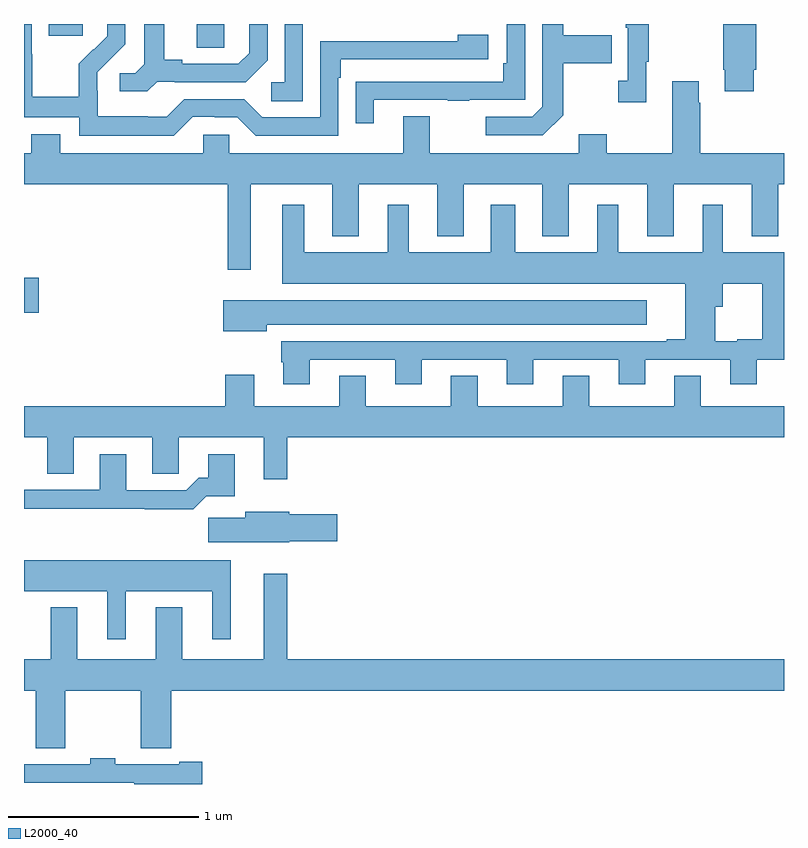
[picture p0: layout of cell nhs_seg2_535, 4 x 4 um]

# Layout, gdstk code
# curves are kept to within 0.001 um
import gdstk
lib = gdstk.Library(unit=1e-6, precision=1e-09)
def R(c, l, rs):  # rectangles x0, y0, x1, y1
    for r in rs: c.add(gdstk.rectangle(r[:2], r[2:], *l))
def P(c, l, *ps):  # polygons
    for p in ps: c.add(gdstk.Polygon(p, *l))
L2000_40 = (2000, 40)

nhs_seg2_535 = lib.new_cell('nhs_seg2_535')
R(nhs_seg2_535, L2000_40, [(137,660.281,137.077,660.464), (137.909,661.675,138.054,661.8), (137.129,661.737,137.308,661.8)])
P(nhs_seg2_535, L2000_40, [(137.889,661.311),(138.005,661.311),(138.005,661.308),(138.123,661.308),(138.219,661.212),(138.654,661.212),(138.654,661.517),(138.667,661.517),(138.667,661.614),(139.444,661.614),(139.444,661.744),(139.283,661.744),(139.283,661.71),(138.558,661.71),(138.558,661.308),(138.255,661.308),(138.159,661.404),(137.844,661.404),(137.751,661.311),(137.651,661.311),(137.651,661.315),(137.388,661.315),(137.388,661.449),(137.386,661.449),(137.386,661.546),(137.532,661.694),(137.532,661.8),(137.438,661.8),(137.438,661.736),(137.367,661.665),(137.364,661.668),(137.287,661.591),(137.287,661.417),(137.043,661.417),(137.043,661.64),(137.04,661.64),(137.04,661.8),(137,661.8),(137,661.308),(137.292,661.308),(137.292,661.211),(137.789,661.211)],
  [(137.7,661.497),(137.794,661.497),(137.794,661.494),(138.166,661.494),(138.282,661.61),(138.282,661.8),(138.185,661.8),(138.185,661.647),(138.128,661.59),(137.833,661.59),(137.833,661.613),(137.737,661.613),(137.737,661.8),(137.633,661.8),(137.633,661.589),(137.586,661.542),(137.505,661.542),(137.505,661.445),(137.648,661.445)],
  [(140.275,661.601),(140.287,661.601),(140.287,661.8),(140.166,661.8),(140.166,661.781),(140.178,661.781),(140.178,661.502),(140.127,661.502),(140.127,661.389),(140.275,661.389)],
  [(139.837,661.321),(139.837,661.594),(140.093,661.594),(140.093,661.741),(139.837,661.741),(139.837,661.8),(139.728,661.8),(139.728,661.365),(139.674,661.311),(139.431,661.311),(139.431,661.215),(139.731,661.215)],
  [(138.468,661.8),(138.372,661.8),(138.372,661.494),(138.3,661.494),(138.3,661.393),(138.468,661.393)],
  [(138.841,661.401),(139.231,661.401),(139.231,661.396),(139.343,661.396),(139.343,661.401),(139.638,661.401),(139.638,661.8),(139.542,661.8),(139.542,661.594),(139.522,661.594),(139.522,661.497),(138.847,661.497),(138.847,661.496),(138.745,661.496),(138.745,661.278),(138.841,661.278)],
  [(140.842,661.558),(140.855,661.558),(140.855,661.8),(140.68,661.8),(140.68,661.558),(140.687,661.558),(140.687,661.446),(140.842,661.446)],
  [(138.193,660.956),(138.623,660.956),(138.623,660.683),(138.763,660.683),(138.763,660.956),(139.175,660.956),(139.175,660.683),(139.315,660.683),(139.315,660.956),(139.727,660.956),(139.727,660.683),(139.867,660.683),(139.867,660.956),(140.279,660.956),(140.279,660.683),(140.419,660.683),(140.419,660.956),(140.831,660.956),(140.831,660.683),(140.971,660.683),(140.971,660.956),(141,660.956),(141,661.12),(140.559,661.12),(140.559,661.385),(140.551,661.385),(140.551,661.498),(140.411,661.498),(140.411,661.12),(140.067,661.12),(140.067,661.219),(139.919,661.219),(139.919,661.12),(139.135,661.12),(139.135,661.315),(138.995,661.315),(138.995,661.12),(138.081,661.12),(138.081,661.218),(137.943,661.218),(137.943,661.12),(137.191,661.12),(137.191,661.219),(137.039,661.219),(137.039,661.12),(137,661.12),(137,660.956),(138.072,660.956),(138.072,660.507),(138.193,660.507)],
  [(138.353,660.129),(138.353,660.021),(138.365,660.021),(138.365,659.904),(138.505,659.904),(138.505,660.033),(138.953,660.033),(138.953,659.904),(139.093,659.904),(139.093,660.033),(139.541,660.033),(139.541,659.904),(139.681,659.904),(139.681,660.033),(140.129,660.033),(140.129,659.904),(140.269,659.904),(140.269,660.033),(140.717,660.033),(140.717,659.904),(140.857,659.904),(140.857,660.032),(141,660.032),(141,660.598),(140.677,660.598),(140.677,660.85),(140.573,660.85),(140.573,660.598),(140.128,660.598),(140.128,660.85),(140.018,660.85),(140.018,660.598),(139.585,660.598),(139.585,660.85),(139.457,660.85),(139.457,660.598),(139.024,660.598),(139.024,660.85),(138.914,660.85),(138.914,660.598),(138.475,660.598),(138.475,660.85),(138.359,660.85),(138.359,660.434),(140.48,660.434),(140.48,660.142),(140.384,660.142),(140.384,660.131),(140.638,660.131),(140.638,660.311),(140.677,660.311),(140.677,660.434),(140.885,660.434),(140.885,660.142),(140.753,660.142),(140.753,660.131),(140.638,660.131),(140.384,660.131),(140.384,660.129)],
  [(138.277,660.218),(140.278,660.218),(140.278,660.346),(138.048,660.346),(138.048,660.182),(138.277,660.182)],
  [(138.385,659.624),(141,659.624),(141,659.788),(140.563,659.788),(140.563,659.948),(140.423,659.948),(140.423,659.788),(139.975,659.788),(139.975,659.948),(139.835,659.948),(139.835,659.788),(139.387,659.788),(139.387,659.948),(139.247,659.948),(139.247,659.788),(138.799,659.788),(138.799,659.948),(138.659,659.948),(138.659,659.788),(138.211,659.788),(138.211,659.953),(138.059,659.953),(138.059,659.788),(137,659.788),(137,659.624),(137.123,659.624),(137.123,659.434),(137.263,659.434),(137.263,659.624),(137.675,659.624),(137.675,659.434),(137.814,659.434),(137.814,659.624),(138.263,659.624),(138.263,659.403),(138.385,659.403)],
  [(137.96,659.315),(138.109,659.315),(138.109,659.536),(137.969,659.536),(137.969,659.413),(137.92,659.413),(137.853,659.346),(137.539,659.346),(137.539,659.536),(137.399,659.536),(137.399,659.349),(137,659.349),(137,659.248),(137.635,659.248),(137.635,659.246),(137.891,659.246)],
  [(138.396,659.078),(138.649,659.078),(138.649,659.22),(138.396,659.22),(138.396,659.233),(138.164,659.233),(138.164,659.201),(137.97,659.201),(137.97,659.072),(138.396,659.072)],
  [(137.536,658.814),(137.99,658.814),(137.99,658.563),(138.088,658.563),(138.088,658.978),(137,658.978),(137,658.814),(137.438,658.814),(137.438,658.563),(137.536,658.563)],
  [(137.216,658.292),(137.614,658.292),(137.614,657.988),(137.774,657.988),(137.774,658.292),(141,658.292),(141,658.456),(138.385,658.456),(138.385,658.906),(138.263,658.906),(138.263,658.456),(137.833,658.456),(137.833,658.729),(137.693,658.729),(137.693,658.456),(137.281,658.456),(137.281,658.729),(137.141,658.729),(137.141,658.456),(137,658.456),(137,658.292),(137.062,658.292),(137.062,657.988),(137.216,657.988)],
  [(137.939,657.916),(137.816,657.916),(137.816,657.903),(137.481,657.903),(137.481,657.936),(137.349,657.936),(137.349,657.903),(137,657.903),(137,657.807),(137.581,657.807),(137.581,657.8),(137.939,657.8)])

lib.write_gds('nhs_seg2_535.gds')
